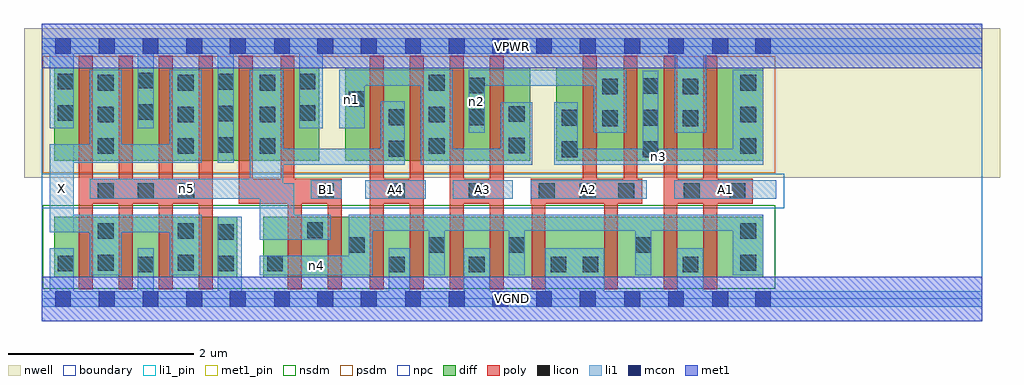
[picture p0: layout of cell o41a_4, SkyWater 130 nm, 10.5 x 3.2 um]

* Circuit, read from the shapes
.subckt o41a_4 A1 A2 A3 A4 B1 VGND VPWR X n1 n2 n3 n4 n5
XM1 X n5 VGND VSUBS sky130_fd_pr__nfet_01v8 w=0.65 l=0.15 m=4
XM2 n5 B1 n4 VSUBS sky130_fd_pr__nfet_01v8 w=0.65 l=0.15 m=2
XM3 VGND A4 n4 VSUBS sky130_fd_pr__nfet_01v8 w=0.65 l=0.15 m=2
XM4 VGND A3 n4 VSUBS sky130_fd_pr__nfet_01v8 w=0.65 l=0.15 m=2
XM5 VGND A2 n4 VSUBS sky130_fd_pr__nfet_01v8 w=0.65 l=0.15 m=2
XM6 VGND A1 n4 VSUBS sky130_fd_pr__nfet_01v8 w=0.65 l=0.15 m=2
XM7 X n5 VPWR n6 sky130_fd_pr__pfet_01v8 w=1 l=0.15 m=4
XM8 n5 B1 VPWR n6 sky130_fd_pr__pfet_01v8 w=1 l=0.15 m=2
XM9 n5 A4 n1 n6 sky130_fd_pr__pfet_01v8 w=1 l=0.15 m=2
XM10 n2 A3 n1 n6 sky130_fd_pr__pfet_01v8 w=1 l=0.15 m=2
XM11 n2 A2 n3 n6 sky130_fd_pr__pfet_01v8 w=1 l=0.15 m=2
XM12 VPWR A1 n3 n6 sky130_fd_pr__pfet_01v8 w=1 l=0.15 m=2
.ends

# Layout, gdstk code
import gdstk
lib = gdstk.Library(unit=1e-6, precision=1e-09)
def R(c, l, rs):  # rectangles x0, y0, x1, y1
    for r in rs: c.add(gdstk.rectangle(r[:2], r[2:], *l))
def A(c, l, x, y, w, h, nx, ny, dx, dy):  # array of equal rectangles
    R(c, l, [(x+i*dx, y+j*dy, x+i*dx+w, y+j*dy+h) for i in range(nx) for j in range(ny)])
nwell = (64, 20)
diff = (65, 20)
poly = (66, 20)
licon = (66, 44)
li1_pin = (67, 16)
li1 = (67, 20)
mcon = (67, 44)
met1_pin = (68, 16)
met1 = (68, 20)
nsdm = (93, 44)
psdm = (94, 20)
npc = (95, 20)
boundary = (235, 4)

o41a_4 = lib.new_cell('o41a_4')
R(o41a_4, nwell, [(-0.19,1.305,10.31,2.91), (0,1.305,10.12,2.91)])
R(o41a_4, diff, [(0.135,0.235,2.105,0.885), (2.385,0.235,7.765,0.885), (0.135,1.485,2.985,2.485), (3.265,1.485,5.255,2.485), (5.535,1.485,7.765,2.485)])
A(o41a_4, poly, 0.4, 0.105, 0.15, 2.51, 4, 1, 0.43, 0)
A(o41a_4, poly, 3.53, 0.105, 0.15, 2.51, 4, 1, 0.43, 0)
R(o41a_4, poly, [(2.65,0.105,2.8,1.295), (3.08,0.105,3.23,1.295), (5.27,0.105,5.42,1.295), (6.05,0.105,6.2,1.295), (6.69,0.105,6.84,2.615), (7.12,0.105,7.27,2.615), (0.4,1.025,1.84,1.295), (2.12,1.025,3.23,1.295), (2.12,1.025,2.27,2.615), (2.57,1.025,2.72,2.615), (3.53,1.025,4.11,1.295), (4.39,1.025,4.97,1.295), (5.26,1.025,6.46,1.295), (5.82,1.025,5.97,2.615), (6.26,1.025,6.41,2.615), (6.69,1.025,7.65,1.295)])
A(o41a_4, licon, 3.305, 0.495, 0.17, 0.17, 3, 1, 0.86, 0)
A(o41a_4, licon, 6.465, 1.525, 0.17, 0.17, 1, 3, 0, 0.34)
A(o41a_4, licon, 0.605, 1.56, 0.17, 0.17, 1, 3, 0, 0.34)
A(o41a_4, licon, 1.465, 1.56, 0.17, 0.17, 1, 3, 0, 0.34)
A(o41a_4, licon, 2.345, 1.56, 0.17, 0.17, 1, 3, 0, 0.34)
A(o41a_4, licon, 4.165, 1.56, 0.17, 0.17, 1, 3, 0, 0.34)
A(o41a_4, licon, 7.515, 1.56, 0.17, 0.17, 1, 3, 0, 0.34)
A(o41a_4, licon, 1.895, 1.57, 0.17, 0.17, 1, 3, 0, 0.34)
R(o41a_4, licon, [(1.035,0.285,1.205,0.455), (3.735,0.285,3.905,0.455), (4.595,0.285,4.765,0.455), (5.475,0.285,5.645,0.455), (5.82,0.285,5.99,0.455), (6.895,0.285,7.065,0.455), (0.175,0.295,0.345,0.465), (1.895,0.295,2.065,0.465), (2.425,0.295,2.595,0.465), (0.605,0.305,0.775,0.475), (1.465,0.305,1.635,0.475), (7.515,0.305,7.685,0.475), (6.39,0.495,6.56,0.665), (1.895,0.635,2.065,0.805), (0.605,0.645,0.775,0.815), (1.465,0.645,1.635,0.815), (7.515,0.645,7.685,0.815), (2.855,0.655,3.025,0.825), (0.605,1.075,0.775,1.245), (1.035,1.075,1.205,1.245), (1.47,1.075,1.64,1.245), (2.975,1.075,3.145,1.245), (3.735,1.075,3.905,1.245), (4.595,1.075,4.765,1.245), (5.35,1.075,5.52,1.245), (5.79,1.075,5.96,1.245), (6.205,1.075,6.375,1.245), (6.91,1.075,7.08,1.245), (7.4,1.075,7.57,1.245), (5.595,1.525,5.765,1.695), (3.735,1.53,3.905,1.7), (5.025,1.565,5.195,1.735), (6.03,1.86,6.2,2.03), (6.895,1.86,7.065,2.03), (5.595,1.865,5.765,2.035), (3.735,1.87,3.905,2.04), (4.595,1.87,4.765,2.04), (5.025,1.905,5.195,2.075), (0.175,1.915,0.345,2.085), (2.775,1.915,2.945,2.085), (1.035,1.925,1.205,2.095), (3.305,2.065,3.475,2.235), (6.03,2.2,6.2,2.37), (6.895,2.2,7.065,2.37), (4.595,2.21,4.765,2.38), (0.175,2.255,0.345,2.425), (2.775,2.255,2.945,2.425), (1.035,2.265,1.205,2.435)])
R(o41a_4, li1_pin, [(0.085,0.715,0.345,1.665), (2.895,1.075,3.23,1.275), (3.48,1.075,4.13,1.275), (4.425,1.075,5.07,1.275), (5.26,1.075,6.51,1.275), (6.805,1.075,7.905,1.275)])
R(o41a_4, li1, [(0,-0.085,10.12,0.085), (0.085,-0.085,0.345,0.545), (1.035,-0.085,1.205,0.545), (1.895,-0.085,2.15,0.885), (3.735,-0.085,3.96,0.545), (4.54,-0.085,4.82,0.545), (5.42,-0.085,6.05,0.545), (6.84,-0.085,7.12,0.545), (0.52,0.255,0.86,0.905), (1.38,0.255,1.72,0.905), (2.345,0.255,3.56,0.465), (3.305,0.255,3.56,0.905), (4.165,0.255,4.335,0.905), (5.025,0.255,5.195,0.905), (6.385,0.255,6.56,0.905), (7.435,0.255,7.765,0.905), (2.345,0.635,3.11,0.905), (2.345,0.635,2.72,1.245), (0.085,0.715,1.72,0.905), (0.085,0.715,0.345,1.665), (3.305,0.735,7.765,0.905), (0.52,1.075,2.6,1.295), (2.24,1.075,2.6,2.465), (2.895,1.075,3.23,1.275), (3.48,1.075,4.13,1.275), (4.425,1.075,5.07,1.275), (5.26,1.075,6.51,1.275), (6.805,1.075,7.905,1.275), (2.24,1.445,3.905,1.615), (3.65,1.445,3.905,2.125), (4.08,1.445,4.42,2.465), (4.08,1.445,5.28,1.615), (4.94,1.445,5.28,2.115), (5.515,1.445,7.765,1.615), (5.515,1.445,5.765,2.115), (6.465,1.445,6.635,2.455), (7.435,1.445,7.765,2.465), (0.085,1.465,1.72,1.665), (0.52,1.465,0.86,2.465), (1.38,1.465,1.72,2.465), (1.895,1.465,2.065,2.805), (4.595,1.785,4.765,2.465), (5.94,1.785,6.29,2.465), (6.81,1.785,7.15,2.805), (0.085,1.835,0.345,2.805), (1.035,1.835,1.205,2.805), (2.77,1.835,3.025,2.805), (3.2,1.835,3.475,2.465), (3.2,2.295,4.42,2.465), (4.595,2.295,6.29,2.465), (0,2.635,10.12,2.805)])
A(o41a_4, mcon, 0.145, -0.085, 0.17, 0.17, 5, 2, 0.47, 2.72)
A(o41a_4, mcon, 3.91, -0.085, 0.17, 0.17, 5, 2, 0.47, 2.72)
R(o41a_4, mcon, [(2.5,-0.085,2.67,0.085), (2.965,-0.085,3.135,0.085), (3.435,-0.085,3.605,0.085), (6.27,-0.085,6.44,0.085), (6.74,-0.085,6.91,0.085), (7.215,-0.085,7.385,0.085), (7.675,-0.085,7.845,0.085), (2.5,2.635,2.67,2.805), (2.965,2.635,3.135,2.805), (3.435,2.635,3.605,2.805), (6.27,2.635,6.44,2.805), (6.74,2.635,6.91,2.805), (7.215,2.635,7.385,2.805), (7.675,2.635,7.845,2.805)])
R(o41a_4, met1_pin, [(0,-0.24,10.12,0.24), (0,2.48,10.12,2.96)])
R(o41a_4, met1, [(0,-0.24,10.12,0.24), (0,2.48,10.12,2.96)])
R(o41a_4, nsdm, [(0.01,0.11,7.89,1.01)])
R(o41a_4, psdm, [(0.01,1.36,7.89,2.61)])
R(o41a_4, npc, [(0,0.975,7.99,1.345)])
R(o41a_4, boundary, [(0,0,10.12,2.72)])
o41a_4.add(gdstk.Label('A1', (7.355,1.175), layer=67, texttype=5))
o41a_4.add(gdstk.Label('A2', (5.885,1.175), layer=67, texttype=5))
o41a_4.add(gdstk.Label('A3', (4.747,1.175), layer=67, texttype=5))
o41a_4.add(gdstk.Label('A4', (3.805,1.175), layer=67, texttype=5))
o41a_4.add(gdstk.Label('B1', (3.062,1.175), layer=67, texttype=5))
o41a_4.add(gdstk.Label('X', (0.215,1.19), layer=67, texttype=5))
o41a_4.add(gdstk.Label('n4', (2.952,0.36), layer=67, texttype=5))
o41a_4.add(gdstk.Label('n5', (1.56,1.185), layer=67, texttype=5))
o41a_4.add(gdstk.Label('n1', (3.337,2.15), layer=67, texttype=5))
o41a_4.add(gdstk.Label('n2', (4.68,2.125), layer=67, texttype=5))
o41a_4.add(gdstk.Label('n3', (6.64,1.53), layer=67, texttype=5))
o41a_4.add(gdstk.Label('VPWR', (5.06,2.72), layer=68, texttype=5))
o41a_4.add(gdstk.Label('VGND', (5.06,0), layer=68, texttype=5))
o41a_4.add(gdstk.Label('A1', (7.355,1.175), layer=67, texttype=16))
o41a_4.add(gdstk.Label('A2', (5.885,1.175), layer=67, texttype=16))
o41a_4.add(gdstk.Label('A3', (4.747,1.175), layer=67, texttype=16))
o41a_4.add(gdstk.Label('A4', (3.805,1.175), layer=67, texttype=16))
o41a_4.add(gdstk.Label('B1', (3.062,1.175), layer=67, texttype=16))
o41a_4.add(gdstk.Label('X', (0.215,1.19), layer=67, texttype=16))
o41a_4.add(gdstk.Label('VPWR', (5.06,2.72), layer=68, texttype=16))
o41a_4.add(gdstk.Label('VGND', (5.06,0), layer=68, texttype=16))

lib.write_gds('o41a_4.gds')
